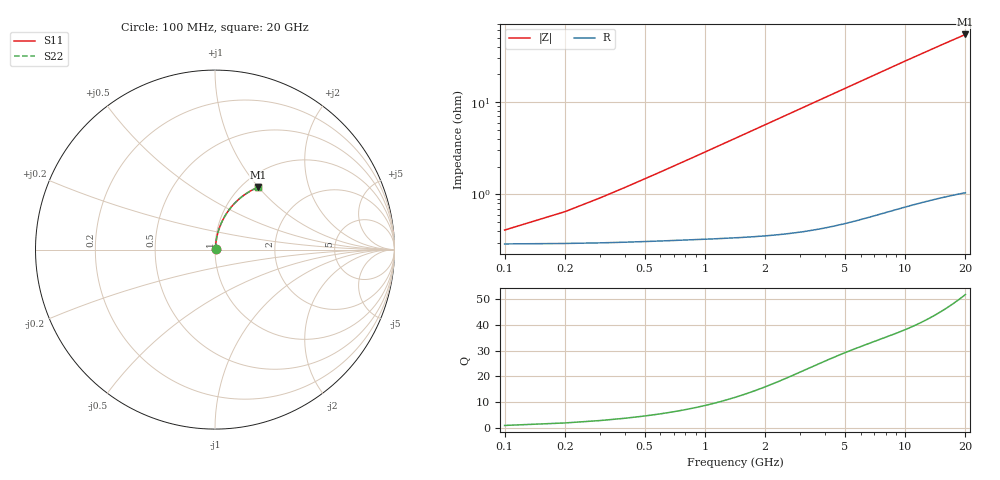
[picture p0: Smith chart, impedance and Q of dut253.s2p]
! Touchstone file exported from HFSS 2026.1.0
!  File:  C:/ffzhzh/LocalFiles/Ansys_Project_Files/temp_train_BSMRDL_253_1782988644_40604.aedt
!  Generated:  06:38:37 PM Jul  2, 2026
!  Design:  BSMRDL
!  Project:  temp_train_BSMRDL_253_1782988644_40604
! Variables:
!  h_bsmrdl = 4.07um
!  h_ox = 20um
!  h_rdl = 5um
!  h_sub = 80um
!  h_tmrdl = 5um
!  h_tsv = 80um
!  h_via = 3um
!  l_bsmrdl = 367.45um
!  l_sub = 767.45um
!  l_tmrdl = 200um
!  m_sub = 200um
!  pitch = 59.88um
!  r_tsv = 6um
!  s_tmrdl = 10um
!  w_bsmrdl = 11.33um
!  w_sub = 500um
!  w_tmrdl = 12um
!  x_tsv_center1 = 206um
!  x_tsv_center2 = 584.78um
!  x_tsv_center3 = 796.78um
!  x_tsv_center4 = 1175.56um
!  x_tsv_center5 = 1387.56um
!  x_tsv_center6 = 1766.34um
# GHz S MA R 50.000000
! Terminal data exported
! Port[1] = BSM_RDL1_1_T1
! Port[2] = BSM_RDL1_1_T2
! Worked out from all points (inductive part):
!   200 points, 100 MHz to 20 GHz, reference 50 ohm
!   read as one part in series: L = 458 pH near 400 MHz
!   highest Q = 51.8 at 20 GHz (marker M1), where L = 430 pH
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0.1  0.003854 41.0  0.9971 -0.2  0.9971 -0.2  0.003854 41.0
! Gamma 0 0 0 0
! Port Impedance 50 0 50 0
0.2  0.005852 59.5  0.9971 -0.4  0.9971 -0.4  0.005852 59.5
0.3  0.008138 68.0  0.997 -0.6  0.997 -0.6  0.008138 68.0
0.4  0.01051 72.5  0.9969 -0.7  0.9969 -0.7  0.01051 72.5
0.5  0.01292 75.3  0.9968 -0.9  0.9968 -0.9  0.01292 75.3
0.6  0.01534 77.2  0.9968 -1.1  0.9968 -1.1  0.01534 77.2
0.8  0.0202 79.4  0.9966 -1.5  0.9966 -1.5  0.0202 79.4
1.1  0.02751 81.1  0.9963 -2.0  0.9963 -2.0  0.02751 81.1
1.5  0.03727 82.0  0.9959 -2.7  0.9959 -2.7  0.03727 82.0
1.8  0.0446 82.2  0.9955 -3.3  0.9955 -3.3  0.0446 82.2
2.1  0.05192 82.2  0.9951 -3.8  0.9951 -3.8  0.05192 82.2
2.7  0.06652 81.8  0.994 -4.9  0.994 -4.9  0.06652 81.8
3.5  0.08585 80.9  0.9922 -6.4  0.9922 -6.4  0.08585 80.9
4.2  0.1026 79.9  0.9903 -7.6  0.9903 -7.6  0.1026 79.9
5  0.1216 78.7  0.9878 -9.0  0.9878 -9.0  0.1216 78.7
5.9  0.1426 77.3  0.9846 -10.6  0.9846 -10.6  0.1426 77.3
6.8  0.1633 75.8  0.9809 -12.2  0.9809 -12.2  0.1633 75.8
8.3  0.1971 73.4  0.9741 -14.8  0.9741 -14.8  0.1971 73.4
10.1  0.2362 70.4  0.9646 -17.8  0.9646 -17.8  0.2362 70.4
13.4  0.3038 65.2  0.9446 -23.3  0.9446 -23.3  0.3038 65.2
16.7  0.3657 60.2  0.9219 -28.4  0.9219 -28.4  0.3656 60.2
20  0.4216 55.4  0.8974 -33.3  0.8974 -33.3  0.4216 55.4
